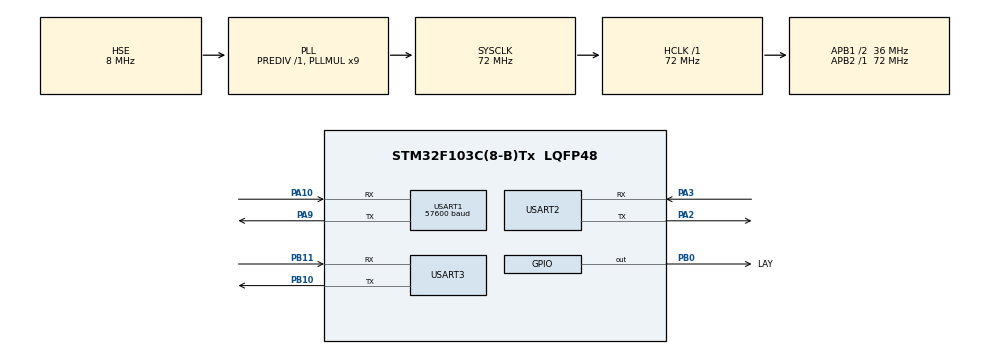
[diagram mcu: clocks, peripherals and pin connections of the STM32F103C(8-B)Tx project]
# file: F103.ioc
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Dma.Request0=USART3_RX
Dma.USART3_RX.0.Direction=DMA_PERIPH_TO_MEMORY
Dma.USART3_RX.0.Instance=DMA1_Channel3
Dma.USART3_RX.0.MemDataAlignment=DMA_MDATAALIGN_BYTE
Dma.USART3_RX.0.MemInc=DMA_MINC_ENABLE
Dma.USART3_RX.0.Mode=DMA_NORMAL
Dma.USART3_RX.0.PeriphDataAlignment=DMA_PDATAALIGN_BYTE
Dma.USART3_RX.0.PeriphInc=DMA_PINC_DISABLE
Dma.USART3_RX.0.Priority=DMA_PRIORITY_LOW
Mcu.Family=STM32F1
Mcu.Name=STM32F103C(8-B)Tx
Mcu.Package=LQFP48
NVIC.DMA1_Channel3_IRQn=true\:0\:0\:false\:false\:true\:false\:true\:true
NVIC.PriorityGroup=NVIC_PRIORITYGROUP_4
NVIC.USART1_IRQn=true\:0\:0\:false\:false\:true\:true\:true\:true
NVIC.USART3_IRQn=true\:0\:0\:false\:false\:true\:true\:true\:true
PA10.Mode=Asynchronous
PA10.Signal=USART1_RX
PA13.Mode=Serial_Wire
PA13.Signal=SYS_JTMS-SWDIO
PA14.Mode=Serial_Wire
PA14.Signal=SYS_JTCK-SWCLK
PA2.Mode=Asynchronous
PA2.Signal=USART2_TX
PA3.Mode=Asynchronous
PA3.Signal=USART2_RX
PA9.Mode=Asynchronous
PA9.Signal=USART1_TX
PB0.GPIO_Label=LAY
PB0.GPIO_ModeDefaultOutputPP=GPIO_MODE_OUTPUT_PP
PB0.GPIO_PuPd=GPIO_PULLUP
PB0.GPIO_Speed=GPIO_SPEED_FREQ_HIGH
PB0.PinState=GPIO_PIN_SET
PB0.Signal=GPIO_Output
PB10.Mode=Asynchronous
PB10.Signal=USART3_TX
PB11.Mode=Asynchronous
PB11.Signal=USART3_RX
PD0-OSC_IN.Mode=HSE-External-Oscillator
PD0-OSC_IN.Signal=RCC_OSC_IN
PD1-OSC_OUT.Mode=HSE-External-Oscillator
PD1-OSC_OUT.Signal=RCC_OSC_OUT
ProjectManager.HeapSize=0x200
ProjectManager.StackSize=0x400
ProjectManager.TargetToolchain=MDK-ARM V5.27
RCC.AHBFreq_Value=72000000
RCC.APB1CLKDivider=RCC_HCLK_DIV2
RCC.APB1Freq_Value=36000000
RCC.APB1TimFreq_Value=72000000
RCC.APB2Freq_Value=72000000
RCC.APB2TimFreq_Value=72000000
RCC.HCLKFreq_Value=72000000
RCC.PLLMUL=RCC_PLL_MUL9
RCC.PLLSourceVirtual=RCC_PLLSOURCE_HSE
RCC.SYSCLKFreq_VALUE=72000000
RCC.SYSCLKSource=RCC_SYSCLKSOURCE_PLLCLK
RCC.USBFreq_Value=72000000
USART1.BaudRate=57600
USART1.VirtualMode=VM_ASYNC
USART2.VirtualMode=VM_ASYNC
USART3.VirtualMode=VM_ASYNC
board=custom

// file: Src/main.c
/* USER CODE BEGIN Header */
/* USER CODE END Header */
#include "main.h"
#include "dma.h"
#include "usart.h"
#include "gpio.h"

/* USER CODE BEGIN Includes */
#include "AS608.h"
#include "string.h"
/* USER CODE END Includes */

/* USER CODE BEGIN PD */
#define FINGER_CLEAR  "clear"
#define PIN_OPEN "1111"

/* USER CODE END PD */

/* USER CODE BEGIN PV */
SysPara AS608Para;							//ָ指纹模块AS608参数
uint16_t ValidN;								//模块内有效模板个数

/* USER CODE END PV */

void SystemClock_Config(void);

/* USER CODE BEGIN 0 */
/* Size of Reception buffer */

uint8_t aRxBuffer[RXBUFFERSIZE];				//接收缓冲
uint8_t RX_len=0;													//接收字节计数
void UsartReceive_IDLE(UART_HandleTypeDef *huart)//空闲中断回调函数
{
  __HAL_UART_CLEAR_IDLEFLAG(&huart1); //清除中断

  RX_len = RXBUFFERSIZE - huart1.RxXferCount; //计算接收数据长度
  HAL_UART_AbortReceive_IT(huart); //终止接收

  HAL_UART_Receive_IT(&huart1, (uint8_t*)aRxBuffer, RXBUFFERSIZE); //接收完数据后再次打开中断接收函数
}

//录指纹
void Add_FR(void)
{
	uint8_t i=0,ensure ,processnum=0;
	uint16_t ID;
	while(1)
	{
		printf("go\r\n");
		switch (processnum)
		{
			case 0:
				i++;
				ensure=GZ_GetImage();
				if(ensure==0x00)
				{
					ensure=GZ_GenChar(CharBuffer1);//生成特征
					if(ensure==0x00)
					{
						i=0;
						processnum=1;//跳到第二步
					}
				}
				break;

			case 1:
				i++;
				ensure=GZ_GetImage();
				if(ensure==0x00)
				{
					ensure=GZ_GenChar(CharBuffer2);//生成特征
					if(ensure==0x00)
					{
						i=0;
						processnum=2;//跳到第三步
					}
				}
				break;

			case 2:
				ensure=GZ_Match();
				if(ensure==0x00)
				{
					processnum=3;//跳到第四步
				}
				else
				{
					i=0;
					processnum=0;//跳回第一步
				}
				HAL_Delay(1000);
				break;

			case 3:

				ensure=GZ_RegModel();
				if(ensure==0x00)
				{
					processnum=4;//跳到第五步
				}else {processnum=0;}
				HAL_Delay(1000);
				break;

			case 4:

		  	ID=0;
				ensure=GZ_StoreChar(CharBuffer2,ID);//储存模板
				if(ensure==0x00)
				{
					GZ_ValidTempleteNum(&ValidN);//读库指纹个数
					printf("%d\r\n",ValidN);
					HAL_Delay(1500);//延时后清除显示
					return ;
				}else {processnum=0;}
				break;
		}
		HAL_Delay(800);
		if(i==10)				//超过10次没有按手指则退出
		{
			break;
		}
	}
}

//刷指纹
void press_FR(void)
{
	//printf("press_fr\r\n");
	SearchResult seach;
	uint8_t ensure;
	char *str;
	ensure=GZ_GetImage();
	if(ensure==0x00)						//获取图像成功
	{
		ensure=GZ_GenChar(CharBuffer1);
		if(ensure==0x00) 					//生成特征成功
		{
			ensure=GZ_HighSpeedSearch(CharBuffer1,0,300,&seach);
			if(ensure==0x00)				//搜索成功
			{

					HAL_UART_Transmit(&huart3,(uint8_t*)"clock in",8,0xffff);
					printf("success 1\r\n");
//          if(seach.mathscore>100)
//					{
//						printf("success\r\n");
//						HAL_Delay(20000);
//					}else
//					{
//					}

			}
			else
			{
					//HAL_UART_Transmit(&huart3,(uint8_t*)"error finger",12,0xffff);
					printf("error finger\r\n");
			}

	  }
	}

}

//删除指纹
void Del_FR(void)
{
	uint8_t  ensure;
	uint16_t num;
	GZ_Empty();						//清空指纹库
	//GZ_DeletChar(0,1);			//删除单个指纹
}

/* USER CODE END 0 */

int main(void)
{

  /* MCU Configuration--------------------------------------------------------*/

  /* Reset of all peripherals, Initializes the Flash interface and the Systick. */
  HAL_Init();

  /* Configure the system clock */
  SystemClock_Config();

  /* Initialize all configured peripherals */
  MX_GPIO_Init();
  MX_DMA_Init();
  MX_USART1_UART_Init();
  MX_USART2_UART_Init();
  MX_USART3_UART_Init();
  /* USER CODE BEGIN 2 */

	if (HAL_UART_Receive_IT(&huart1, (uint8_t *)aRxBuffer, RXBUFFERSIZE) != HAL_OK)//接收完数据后再次打开中断接收函数
  {

  }
	__HAL_UART_ENABLE_IT(&huart1, UART_IT_IDLE); //使能空闲中断
  /* USER CODE END 2 */

  /* Infinite loop */
  while (1)
  {

    /* USER CODE BEGIN 3 */
		while(GZ_HandShake(&AS608Addr))//与AS608模块握手
		{

		}
		GZ_ValidTempleteNum(&ValidN);  //读库指纹个数
    GZ_ReadSysPara(&AS608Para);  //读AS608模块参数

		if(ValidN>0)   //指纹里面有模版
		{
			while(1)
			{
				press_FR();//刷指纹
				if(rx3_end_flag)
				{
					rx3_end_flag=false;

					//删除指纹
					if(strstr((const char*)FINGER_CLEAR,(const char*)uart3_rx)!=NULL)
					{
							Del_FR();
					}

					if(strstr((const char*)PIN_OPEN,(const char*)uart3_rx)!=NULL)
					{
							 HAL_GPIO_WritePin(LAY_GPIO_Port, LAY_Pin, GPIO_PIN_RESET);

					}

					memset(uart3_rx,0,100);
					rx3_count=0;
					HAL_UART_Receive_DMA(&huart3,uart3_rx,100);   //��Ҫ���´�DMA����
				}
			}
		}
		else
		{
			HAL_UART_Transmit(&huart3,(uint8_t*)"no finger",9,0xffff);
			Add_FR();//录入指纹
			HAL_Delay(1000);
		}
  }
  /* USER CODE END 3 */
}

void SystemClock_Config(void)
{
  RCC_OscInitTypeDef RCC_OscInitStruct = {0};
  RCC_ClkInitTypeDef RCC_ClkInitStruct = {0};

  /** Initializes the RCC Oscillators according to the specified parameters
  * in the RCC_OscInitTypeDef structure.
  */
  RCC_OscInitStruct.OscillatorType = RCC_OSCILLATORTYPE_HSE;
  RCC_OscInitStruct.HSEState = RCC_HSE_ON;
  RCC_OscInitStruct.HSEPredivValue = RCC_HSE_PREDIV_DIV1;
  RCC_OscInitStruct.HSIState = RCC_HSI_ON;
  RCC_OscInitStruct.PLL.PLLState = RCC_PLL_ON;
  RCC_OscInitStruct.PLL.PLLSource = RCC_PLLSOURCE_HSE;
  RCC_OscInitStruct.PLL.PLLMUL = RCC_PLL_MUL9;
  if (HAL_RCC_OscConfig(&RCC_OscInitStruct) != HAL_OK)
  {
    Error_Handler();
  }

  /** Initializes the CPU, AHB and APB buses clocks
  */
  RCC_ClkInitStruct.ClockType = RCC_CLOCKTYPE_HCLK|RCC_CLOCKTYPE_SYSCLK
                              |RCC_CLOCKTYPE_PCLK1|RCC_CLOCKTYPE_PCLK2;
  RCC_ClkInitStruct.SYSCLKSource = RCC_SYSCLKSOURCE_PLLCLK;
  RCC_ClkInitStruct.AHBCLKDivider = RCC_SYSCLK_DIV1;
  RCC_ClkInitStruct.APB1CLKDivider = RCC_HCLK_DIV2;
  RCC_ClkInitStruct.APB2CLKDivider = RCC_HCLK_DIV1;

  if (HAL_RCC_ClockConfig(&RCC_ClkInitStruct, FLASH_LATENCY_2) != HAL_OK)
  {
    Error_Handler();
  }
}

void Error_Handler(void)
{
}
